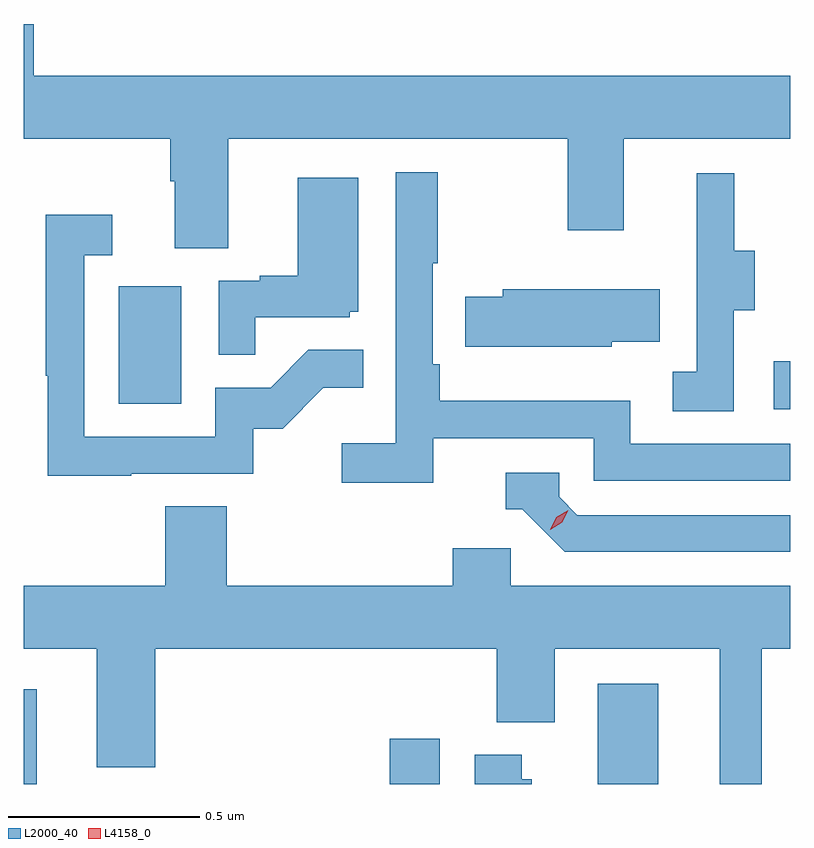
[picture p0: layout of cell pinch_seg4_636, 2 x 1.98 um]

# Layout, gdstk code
import gdstk
lib = gdstk.Library(unit=1e-6, precision=1e-09)
def R(c, l, rs):  # rectangles x0, y0, x1, y1
    for r in rs: c.add(gdstk.rectangle(r[:2], r[2:], *l))
def P(c, l, *ps):  # polygons
    for p in ps: c.add(gdstk.Polygon(p, *l))
L2000_40 = (2000, 40)
L4158_0 = (4158, 0)

pinch_seg4_636 = lib.new_cell('pinch_seg4_636')
R(pinch_seg4_636, L2000_40, [(1037.311,753.843,1037.344,754.09), (1038.266,753.843,1038.397,753.961), (1038.809,753.843,1038.967,754.105), (1039.269,754.821,1039.311,754.946), (1037.558,754.836,1037.722,755.143)])
P(pinch_seg4_636, L2000_40, [(1037.311,755.827),(1037.311,755.528),(1037.693,755.528),(1037.693,755.416),(1037.705,755.416),(1037.705,755.242),(1037.845,755.242),(1037.845,755.528),(1038.73,755.528),(1038.73,755.289),(1038.877,755.289),(1038.877,755.528),(1039.311,755.528),(1039.311,755.692),(1037.336,755.692),(1037.336,755.827)],
  [(1038.38,754.746),(1038.798,754.746),(1038.798,754.635),(1039.311,754.635),(1039.311,754.731),(1038.894,754.731),(1038.894,754.843),(1038.397,754.843),(1038.397,754.939),(1038.378,754.939),(1038.378,755.203),(1038.391,755.203),(1038.391,755.44),(1038.282,755.44),(1038.282,754.732),(1038.141,754.732),(1038.141,754.63),(1038.38,754.63)],
  [(1039.164,755.08),(1039.219,755.08),(1039.219,755.235),(1039.165,755.235),(1039.165,755.437),(1039.067,755.437),(1039.067,755.223),(1039.068,755.223),(1039.068,754.919),(1039.005,754.919),(1039.005,754.816),(1039.164,754.816)],
  [(1037.915,755.061),(1038.162,755.061),(1038.162,755.076),(1038.184,755.076),(1038.184,755.425),(1038.026,755.425),(1038.026,755.17),(1037.927,755.17),(1037.927,755.157),(1037.82,755.157),(1037.82,754.963),(1037.915,754.963)],
  [(1037.591,754.653),(1037.91,754.653),(1037.91,754.77),(1037.986,754.77),(1038.093,754.877),(1038.197,754.877),(1038.197,754.976),(1038.053,754.976),(1037.955,754.878),(1037.811,754.878),(1037.811,754.749),(1037.469,754.749),(1037.469,755.223),(1037.542,755.223),(1037.542,755.329),(1037.368,755.329),(1037.368,754.909),(1037.373,754.909),(1037.373,754.648),(1037.591,754.648)],
  [(1038.846,754.997),(1038.971,754.997),(1038.971,755.134),(1038.561,755.134),(1038.561,755.115),(1038.463,755.115),(1038.463,754.985),(1038.846,754.985)],
  [(1039.311,754.545),(1038.756,754.545),(1038.708,754.593),(1038.708,754.656),(1038.569,754.656),(1038.569,754.56),(1038.612,754.56),(1038.723,754.449),(1039.311,754.449)],
  [(1039.237,754.196),(1039.311,754.196),(1039.311,754.36),(1038.582,754.36),(1038.582,754.458),(1038.43,754.458),(1038.43,754.36),(1037.84,754.36),(1037.84,754.568),(1037.68,754.568),(1037.68,754.36),(1037.311,754.36),(1037.311,754.196),(1037.501,754.196),(1037.501,753.887),(1037.654,753.887),(1037.654,754.196),(1038.545,754.196),(1038.545,754.004),(1038.697,754.004),(1038.697,754.196),(1039.127,754.196),(1039.127,753.843),(1039.237,753.843)],
  [(1038.637,753.855),(1038.61,753.855),(1038.61,753.919),(1038.488,753.919),(1038.488,753.843),(1038.637,753.843)])
P(pinch_seg4_636, L4158_0, [(1038.685,754.507),(1038.685,754.507),(1038.701,754.54),(1038.732,754.558),(1038.732,754.558),(1038.732,754.558),(1038.716,754.526),(1038.685,754.507)])

lib.write_gds('pinch_seg4_636.gds')
